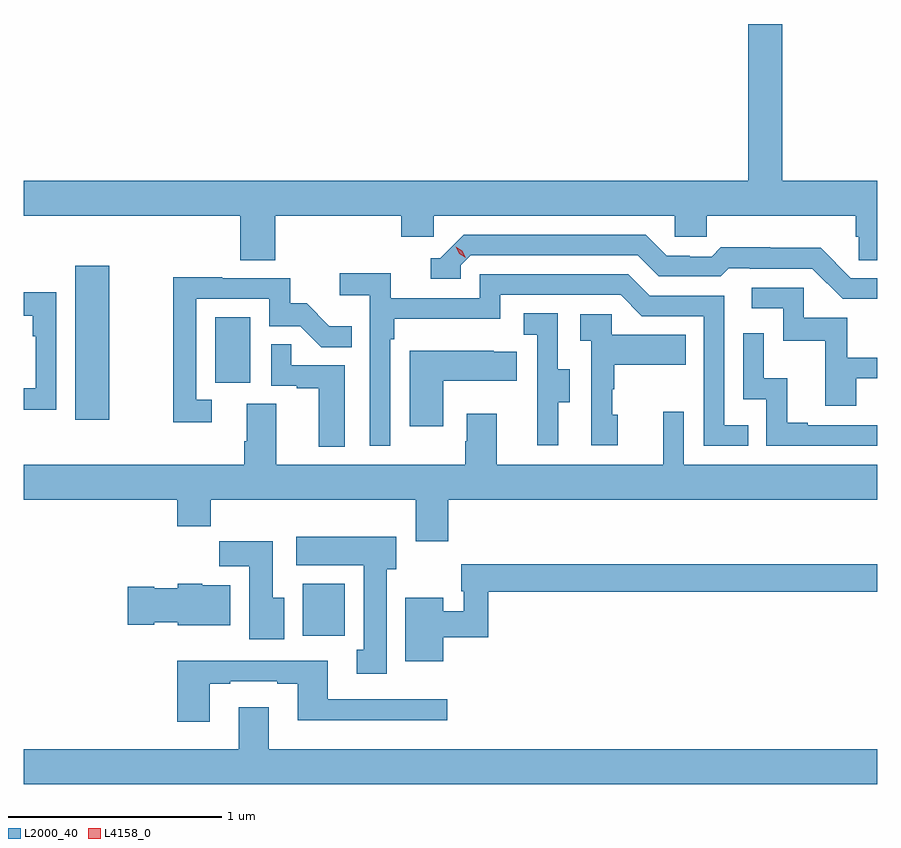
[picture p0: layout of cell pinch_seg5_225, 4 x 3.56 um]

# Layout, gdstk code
import gdstk
lib = gdstk.Library(unit=1e-6, precision=1e-09)
def R(c, l, rs):  # rectangles x0, y0, x1, y1
    for r in rs: c.add(gdstk.rectangle(r[:2], r[2:], *l))
def P(c, l, *ps):  # polygons
    for p in ps: c.add(gdstk.Polygon(p, *l))
L2000_40 = (2000, 40)
L4158_0 = (4158, 0)

pinch_seg5_225 = lib.new_cell('pinch_seg5_225')
R(pinch_seg5_225, L2000_40, [(976.475,912.068,976.672,912.31), (975.407,913.08,975.568,913.801), (976.064,913.254,976.228,913.561)])
P(pinch_seg5_225, L2000_40, [(976.346,914.036),(976.937,914.036),(976.937,913.938),(977.088,913.938),(977.088,914.036),(978.219,914.036),(978.219,913.938),(978.369,913.938),(978.369,914.036),(979.067,914.036),(979.067,913.938),(979.081,913.938),(979.081,913.828),(979.167,913.828),(979.167,914.2),(978.723,914.2),(978.723,914.935),(978.563,914.935),(978.563,914.2),(975.167,914.2),(975.167,914.036),(976.181,914.036),(976.181,913.828),(976.346,913.828)],
  [(979.167,913.743),(979.044,913.743),(978.902,913.885),(978.666,913.885),(978.666,913.888),(978.433,913.888),(978.391,913.845),(978.288,913.845),(978.288,913.848),(978.181,913.848),(978.082,913.947),(977.229,913.947),(977.118,913.836),(977.075,913.836),(977.075,913.74),(977.214,913.74),(977.214,913.803),(977.262,913.851),(978.045,913.851),(978.144,913.752),(978.433,913.752),(978.472,913.791),(978.571,913.791),(978.571,913.788),(978.864,913.788),(979.005,913.647),(979.167,913.647)],
  [(976.884,913.457),(976.904,913.457),(976.904,913.553),(977.4,913.553),(977.4,913.665),(977.964,913.665),(978.063,913.566),(978.354,913.566),(978.354,912.957),(978.563,912.957),(978.563,913.053),(978.45,913.053),(978.45,913.662),(978.1,913.662),(978.001,913.761),(977.304,913.761),(977.304,913.65),(976.886,913.65),(976.886,913.766),(976.647,913.766),(976.647,913.664),(976.788,913.664),(976.788,912.957),(976.884,912.957)],
  [(976.048,913.173),(975.975,913.173),(975.975,913.647),(976.317,913.647),(976.317,913.518),(976.462,913.518),(976.56,913.42),(976.703,913.42),(976.703,913.519),(976.599,913.519),(976.492,913.626),(976.416,913.626),(976.416,913.743),(976.097,913.743),(976.097,913.748),(975.867,913.748),(975.867,913.068),(976.048,913.068)],
  [(979.069,913.275),(979.167,913.275),(979.167,913.371),(979.027,913.371),(979.027,913.557),(978.822,913.557),(978.822,913.698),(978.579,913.698),(978.579,913.602),(978.726,913.602),(978.726,913.449),(978.925,913.449),(978.925,913.146),(979.069,913.146)],
  [(975.318,913.678),(975.167,913.678),(975.167,913.568),(975.209,913.568),(975.209,913.472),(975.222,913.472),(975.222,913.227),(975.167,913.227),(975.167,913.126),(975.318,913.126)],
  [(977.671,913.162),(977.725,913.162),(977.725,913.317),(977.67,913.317),(977.67,913.58),(977.511,913.58),(977.511,913.477),(977.574,913.477),(977.574,913.173),(977.573,913.173),(977.573,912.96),(977.671,912.96)],
  [(977.95,913.104),(977.925,913.104),(977.925,913.223),(977.935,913.223),(977.935,913.337),(978.269,913.337),(978.269,913.477),(977.922,913.477),(977.922,913.575),(977.775,913.575),(977.775,913.451),(977.826,913.451),(977.826,912.96),(977.95,912.96)],
  [(979.167,913.053),(978.841,913.053),(978.841,913.066),(978.746,913.066),(978.746,913.274),(978.636,913.274),(978.636,913.486),(978.54,913.486),(978.54,913.176),(978.648,913.176),(978.648,912.957),(979.167,912.957)],
  [(976.672,913.335),(976.421,913.335),(976.421,913.433),(976.326,913.433),(976.326,913.239),(976.447,913.239),(976.447,913.227),(976.55,913.227),(976.55,912.953),(976.672,912.953)],
  [(977.134,913.262),(977.477,913.262),(977.477,913.399),(977.369,913.399),(977.369,913.402),(976.976,913.402),(976.976,913.05),(977.134,913.05)],
  [(977.156,912.704),(979.167,912.704),(979.167,912.868),(978.261,912.868),(978.261,913.117),(978.164,913.117),(978.164,912.868),(977.383,912.868),(977.383,913.108),(977.243,913.108),(977.243,912.98),(977.236,912.98),(977.236,912.868),(976.351,912.868),(976.351,913.154),(976.211,913.154),(976.211,912.98),(976.199,912.98),(976.199,912.868),(975.167,912.868),(975.167,912.704),(975.887,912.704),(975.887,912.58),(976.043,912.58),(976.043,912.704),(977.003,912.704),(977.003,912.51),(977.156,912.51)],
  [(976.867,912.378),(976.912,912.378),(976.912,912.532),(976.443,912.532),(976.443,912.398),(976.76,912.398),(976.76,912.002),(976.727,912.002),(976.727,911.889),(976.867,911.889)],
  [(976.387,912.244),(976.333,912.244),(976.333,912.511),(976.084,912.511),(976.084,912.392),(976.223,912.392),(976.223,912.051),(976.387,912.051)],
  [(977.134,912.06),(977.345,912.06),(977.345,912.274),(979.167,912.274),(979.167,912.403),(977.217,912.403),(977.217,912.276),(977.229,912.276),(977.229,912.181),(977.134,912.181),(977.134,912.244),(976.955,912.244),(976.955,911.948),(977.134,911.948)],
  [(976.135,912.304),(976.002,912.304),(976.002,912.31),(975.888,912.31),(975.888,912.289),(975.777,912.289),(975.777,912.297),(975.654,912.297),(975.654,912.119),(975.777,912.119),(975.777,912.131),(975.888,912.131),(975.888,912.116),(976.135,912.116)],
  [(976.039,911.841),(976.135,911.841),(976.135,911.853),(976.355,911.853),(976.355,911.841),(976.451,911.841),(976.451,911.672),(977.152,911.672),(977.152,911.769),(976.591,911.769),(976.591,911.949),(976.127,911.949),(976.127,911.95),(975.887,911.95),(975.887,911.664),(976.039,911.664)],
  [(979.167,911.536),(976.315,911.536),(976.315,911.731),(976.175,911.731),(976.175,911.536),(975.167,911.536),(975.167,911.372),(979.167,911.372)])
P(pinch_seg5_225, L4158_0, [(977.239,913.838),(977.208,913.857),(977.192,913.89),(977.192,913.89),(977.192,913.89),(977.223,913.871),(977.239,913.838),(977.239,913.838)])

lib.write_gds('pinch_seg5_225.gds')
